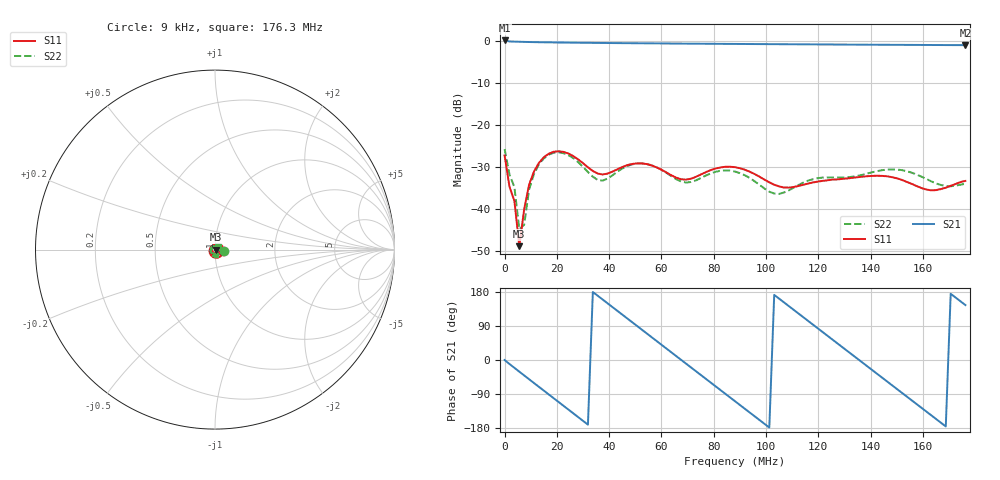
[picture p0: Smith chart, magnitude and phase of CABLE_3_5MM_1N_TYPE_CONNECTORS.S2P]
!Agilent Technologies,E5061B,MY49304750,A.02.21
!Date: Tue Nov 15 12:05:26 2022
!Data & Calibration Information:
!Freq	S11:SOLT1(ON)	S21:NONE(--)	S12:NONE(--)	S22:SOLT1(ON)
# Hz S dB R 50
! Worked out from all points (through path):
!   95 points, 9 kHz to 176.3 MHz, reference 50 ohm
!   highest |S21| = 0.14 dB at 9 kHz (marker M1); lowest = -1.0 dB at 176.3 MHz (marker M2)
!   group delay of S21, straight-line fit = 14.7 ns
!   lowest |S11| = -48.9 dB at 5.634 MHz (marker M3), VSWR 1.01, Z = 50.4 - j0.0762 ohm
!   |S11| at or under -10 dB: start of sweep to end of sweep
!   |S22| runs from -44.9 to -25.7 dB; largest |S21 - S12| = 1
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9000  -27.28 -11.9  0.14 -0.0  -200.00 0.0  -25.74 -8.8
3758989  -38.09 -40.3  -0.13 -20.7  -200.00 0.0  -34.82 -58.0
5633983  -48.88 -12.1  -0.17 -30.8  -200.00 0.0  -44.85 -92.8
7508978  -40.00 56.9  -0.20 -40.8  -200.00 0.0  -43.76 89.3
9383972  -34.21 47.2  -0.23 -50.9  -200.00 0.0  -35.35 62.7
1.313396e7  -29.02 16.3  -0.27 -70.9  -200.00 0.0  -29.38 25.4
2.063394e7  -26.26 -51.6  -0.34 -110.7  -200.00 0.0  -26.51 -43.7
3.000891e7  -29.11 -146.0  -0.41 -160.6  -200.00 0.0  -29.98 -136.9
3.750889e7  -31.80 112.8  -0.45 159.6  -200.00 0.0  -33.27 114.8
4.688386e7  -29.57 -0.9  -0.50 109.9  -200.00 0.0  -29.80 0.0
6.000882e7  -30.65 -127.6  -0.57 40.2  -200.00 0.0  -30.68 -120.5
7.313378e7  -32.36 68.5  -0.63 -29.3  -200.00 0.0  -33.21 76.4
8.063376e7  -30.39 -11.6  -0.66 -69.0  -200.00 0.0  -31.16 -4.0
8.813374e7  -30.06 -80.5  -0.69 -108.8  -200.00 0.0  -31.09 -71.5
1.031337e8  -34.25 125.5  -0.74 171.8  -200.00 0.0  -36.34 124.7
1.181336e8  -33.68 -53.4  -0.79 92.4  -200.00 0.0  -32.90 -51.8
1.331336e8  -32.58 143.0  -0.85 13.0  -200.00 0.0  -32.32 146.8
1.406336e8  -32.13 62.9  -0.87 -26.6  -200.00 0.0  -31.26 64.1
1.481336e8  -32.43 -13.7  -0.89 -66.3  -200.00 0.0  -30.59 -10.0
1.556335e8  -34.01 -93.7  -0.92 -105.9  -200.00 0.0  -31.35 -81.7
1.650085e8  -35.52 148.0  -0.94 -155.5  -200.00 0.0  -33.93 176.5
1.762585e8  -33.33 17.6  -0.98 145.0  -200.00 0.0  -34.00 38.8
